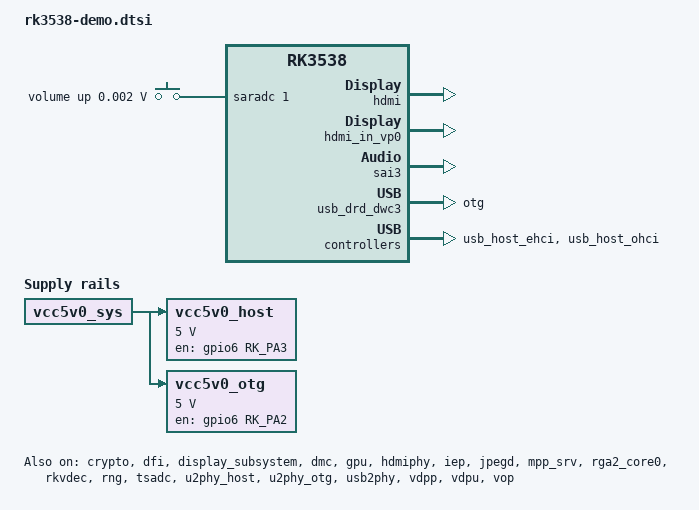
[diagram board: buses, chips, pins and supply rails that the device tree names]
// SPDX-License-Identifier: (GPL-2.0+ OR MIT)
/*
 * Copyright (c) 2025 Rockchip Electronics Co., Ltd.
 *
 */

/ {
	adc_keys: adc-keys {
		compatible = "adc-keys";
		io-channels = <&saradc 1>;
		io-channel-names = "buttons";
		keyup-threshold-microvolt = <1800000>;
		poll-interval = <100>;

		vol-up-key {
			label = "volume up";
			linux,code = <KEY_VOLUMEUP>;
			press-threshold-microvolt = <1750>;
		};
	};

	hdmi_sound: hdmi-sound {
		compatible = "rockchip,hdmi";
		rockchip,mclk-fs = <128>;
		rockchip,card-name = "rockchip,hdmi";
		rockchip,cpu = <&sai3>;
		rockchip,codec = <&hdmi>;
		rockchip,jack-det;
	};

	vcc5v0_host: vcc5v0-host-regulator {
		compatible = "regulator-fixed";
		regulator-name = "vcc5v0_host";
		regulator-boot-on;
		regulator-always-on;
		regulator-min-microvolt = <5000000>;
		regulator-max-microvolt = <5000000>;
		enable-active-high;
		gpio = <&gpio6 RK_PA3 GPIO_ACTIVE_HIGH>;
		vin-supply = <&vcc5v0_sys>;
		pinctrl-names = "default";
		pinctrl-0 = <&vcc5v0_host_en>;
	};

	vcc5v0_otg: vcc5v0-otg-regulator {
		compatible = "regulator-fixed";
		regulator-name = "vcc5v0_otg";
		regulator-min-microvolt = <5000000>;
		regulator-max-microvolt = <5000000>;
		enable-active-high;
		gpio = <&gpio6 RK_PA2 GPIO_ACTIVE_HIGH>;
		vin-supply = <&vcc5v0_sys>;
		pinctrl-names = "default";
		pinctrl-0 = <&vcc5v0_otg_en>;
	};
};

&crypto {
	status = "okay";
};

&dfi {
	status = "okay";
};

&display_subsystem {
	status = "okay";
};

&dmc {
	center-supply = <&vdd_logic>;
	status = "okay";
};

&gpu {
	status = "okay";
};

&hdmi {
	status = "okay";
	cec-enable;
	rockchip,sda-falling-delay-ns = <360>;
};

&hdmi_in_vp0 {
	status = "okay";
};

&hdmiphy {
	status = "okay";
};

&iep {
	status = "okay";
};

&iep_mmu {
	status = "okay";
};

&jpegd {
	status = "okay";
};

&jpeg_mmu {
	status = "okay";
};

&mpp_srv {
	status = "okay";
};

&rga2_core0 {
	status = "okay";
};

&rga2_core0_mmu {
	status = "okay";
};

&rkvdec {
	status = "okay";
};

&rkvdec_mmu {
	status = "okay";
};

&rng {
	status = "okay";
};

&rockchip_suspend {
	status = "okay";
	rockchip,sleep-debug-en = <1>;
	rockchip,virtual-poweroff = <1>;
};

&sai3 {
	status = "okay";
};

&tsadc {
	status = "okay";
};

&u2phy_host {
	phy-supply = <&vcc5v0_host>;
	status = "okay";
};

&u2phy_otg {
	vbus-supply = <&vcc5v0_otg>;
	status = "okay";
};

&usb2phy {
	status = "okay";
};

&usb_drd_dwc3 {
	dr_mode = "otg";
	extcon = <&usb2phy>;
	status = "okay";
};

&usb_host_ehci {
	status = "okay";
};

&usb_host_ohci {
	status = "okay";
};

&vdpp {
	status = "okay";
};

&vdpu {
	status = "okay";
};

&vdpu_mmu {
	status = "okay";
};

&vop {
	status = "okay";
};

&vop_mmu {
	status = "okay";
};

&pinctrl {
	usb {
		vcc5v0_host_en: vcc5v0-host-en {
			rockchip,pins = <6 RK_PA3 RK_FUNC_GPIO &pcfg_pull_none>;
		};

		vcc5v0_otg_en: vcc5v0-otg-en {
			rockchip,pins = <6 RK_PA2 RK_FUNC_GPIO &pcfg_pull_none>;
		};
	};
};
